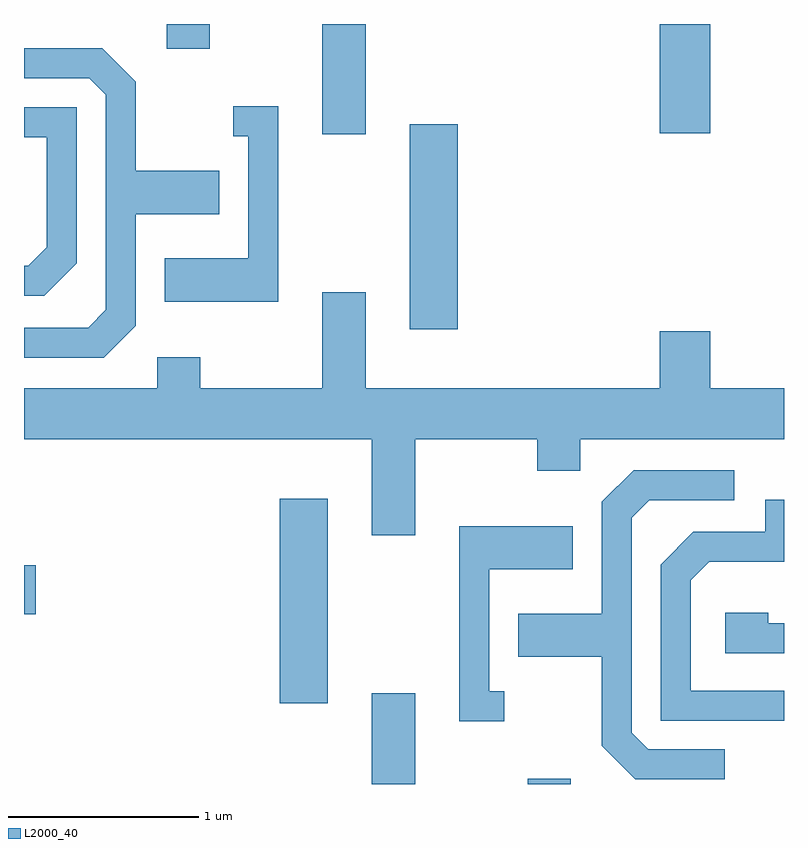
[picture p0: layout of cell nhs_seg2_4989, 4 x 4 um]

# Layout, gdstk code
import gdstk
lib = gdstk.Library(unit=1e-6, precision=1e-09)
def R(c, l, rs):  # rectangles x0, y0, x1, y1
    for r in rs: c.add(gdstk.rectangle(r[:2], r[2:], *l))
def P(c, l, *ps):  # polygons
    for p in ps: c.add(gdstk.Polygon(p, *l))
L2000_40 = (2000, 40)

nhs_seg2_4989 = lib.new_cell('nhs_seg2_4989')
R(nhs_seg2_4989, L2000_40, [(333.441,1079.802,333.669,1080.279), (334.261,1079.802,334.489,1079.829), (332.956,1080.226,333.209,1081.304), (331.611,1080.696,331.674,1080.954), (333.641,1082.196,333.894,1083.274), (333.181,1083.221,333.409,1083.802), (334.956,1083.226,335.224,1083.802), (332.361,1083.671,332.589,1083.802)])
P(nhs_seg2_4989, L2000_40, [(332.199,1082.214),(332.199,1082.801),(332.639,1082.801),(332.639,1083.029),(332.199,1083.029),(332.199,1083.497),(332.022,1083.674),(331.611,1083.674),(331.611,1083.516),(331.954,1083.516),(332.041,1083.429),(332.041,1082.297),(331.949,1082.204),(331.611,1082.204),(331.611,1082.046),(332.032,1082.046)],
  [(332.949,1083.369),(332.713,1083.369),(332.713,1083.211),(332.791,1083.211),(332.791,1082.569),(332.351,1082.569),(332.351,1082.341),(332.949,1082.341)],
  [(331.889,1082.544),(331.889,1083.364),(331.611,1083.364),(331.611,1083.206),(331.731,1083.206),(331.731,1082.627),(331.634,1082.529),(331.611,1082.529),(331.611,1082.371),(331.717,1082.371)],
  [(333.441,1081.111),(333.669,1081.111),(333.669,1081.616),(334.311,1081.616),(334.311,1081.451),(334.539,1081.451),(334.539,1081.616),(335.611,1081.616),(335.611,1081.884),(335.224,1081.884),(335.224,1082.184),(334.956,1082.184),(334.956,1081.884),(333.409,1081.884),(333.409,1082.389),(333.181,1082.389),(333.181,1081.884),(332.539,1081.884),(332.539,1082.049),(332.311,1082.049),(332.311,1081.884),(331.611,1081.884),(331.611,1081.616),(333.441,1081.616)],
  [(335.298,1079.984),(334.897,1079.984),(334.809,1080.072),(334.809,1081.204),(334.902,1081.296),(335.348,1081.296),(335.348,1081.454),(334.819,1081.454),(334.651,1081.287),(334.651,1080.699),(334.211,1080.699),(334.211,1080.471),(334.651,1080.471),(334.651,1080.004),(334.829,1079.826),(335.298,1079.826)],
  [(335.611,1080.294),(335.119,1080.294),(335.119,1080.874),(335.217,1080.971),(335.611,1080.971),(335.611,1081.299),(335.511,1081.299),(335.511,1081.129),(335.134,1081.129),(334.961,1080.957),(334.961,1080.136),(335.611,1080.136)],
  [(334.138,1080.289),(334.059,1080.289),(334.059,1080.931),(334.499,1080.931),(334.499,1081.159),(333.901,1081.159),(333.901,1080.131),(334.138,1080.131)],
  [(335.611,1080.649),(335.529,1080.649),(335.529,1080.704),(335.301,1080.704),(335.301,1080.491),(335.611,1080.491)])

lib.write_gds('nhs_seg2_4989.gds')
